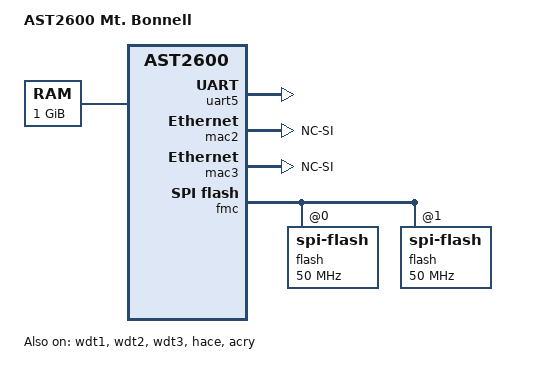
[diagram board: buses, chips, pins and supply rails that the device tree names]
/dts-v1/;

#include "ast2600-u-boot.dtsi"

/ {
        model = "AST2600 Mt. Bonnell";
        compatible = "aspeed,ast2600-bonnell", "aspeed,ast2600";

	memory {
		device_type = "memory";
		reg = <0x80000000 0x40000000>;
	};

	chosen {
		stdout-path = &uart5;
	};

	cpus {
		cpu@0 {
			clock-frequency = <800000000>;
		};
		cpu@1 {
			clock-frequency = <800000000>;
		};
	};
};

/delete-node/&mac0;
/delete-node/&mac1;

&uart5 {
	u-boot,dm-pre-reloc;
	status = "okay";
};

&sdrammc {
	clock-frequency = <400000000>;
};

&wdt1 {
	status = "okay";
};

&wdt2 {
	status = "okay";
};

&wdt3 {
	status = "okay";
};

&mac2 {
	status = "okay";
	phy-mode = "NC-SI";
  use-ncsi;
	pinctrl-names = "default";
	pinctrl-0 = <&pinctrl_rmii3_default>;
  /delete-property/phy-handle;
};

&mac3 {
	status = "okay";
	phy-mode = "NC-SI";
  use-ncsi;
	pinctrl-names = "default";
	pinctrl-0 = <&pinctrl_rmii4_default>;
  /delete-property/phy-handle;
};

&fmc {
	status = "okay";

	pinctrl-names = "default";
	pinctrl-0 = <&pinctrl_fmcquad_default>;

	flash@0 {
		compatible = "spi-flash", "sst,w25q256";
		status = "okay";
		spi-max-frequency = <50000000>;
		spi-tx-bus-width = <4>;
		spi-rx-bus-width = <4>;
	};

	flash@1 {
		compatible = "spi-flash", "sst,w25q256";
		status = "okay";
		spi-max-frequency = <50000000>;
		spi-tx-bus-width = <4>;
		spi-rx-bus-width = <4>;
	};

	flash@2 {
		compatible = "spi-flash", "sst,w25q256";
		status = "disabled";
		spi-max-frequency = <50000000>;
		spi-tx-bus-width = <4>;
		spi-rx-bus-width = <4>;
	};
};

&hace {
	u-boot,dm-pre-reloc;
	status = "okay";
};

&acry {
	u-boot,dm-pre-reloc;
	status = "okay";
};
